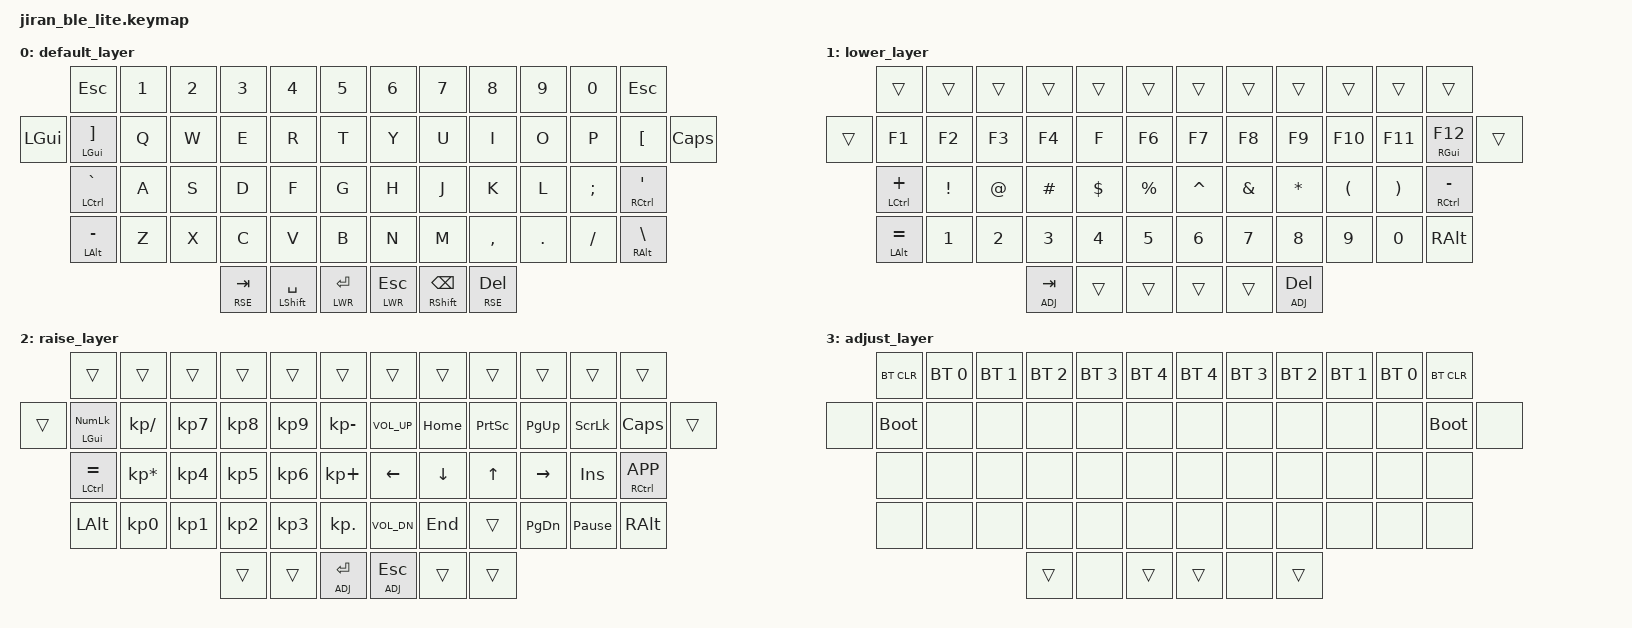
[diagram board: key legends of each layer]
/*
 * Copyright (c) 2021 The ZMK Contributors
 *
 * SPDX-License-Identifier: MIT
 */

#include <behaviors.dtsi>
#include <dt-bindings/zmk/keys.h>
#include <dt-bindings/zmk/bt.h>

&lt { quick_tap_ms = <200>; };
&mt { quick_tap_ms = <200>; };

#define DEF 0
#define LWR 1
#define RSE 2
#define ADJ 3

/ {
        keymap {
                compatible = "zmk,keymap";

                default_layer {
                        bindings = <
          &kp ESC           &kp N1  &kp N2  &kp N3        &kp N4            &kp N5        &kp N6        &kp N7           &kp N8        &kp N9    &kp N0     &kp ESC
&kp LGUI  &mt LGUI RBKT     &kp Q   &kp W   &kp E         &kp R             &kp T         &kp Y         &kp U            &kp I         &kp O     &kp P      &kp LBKT       &kp CLCK
          &mt LCTRL GRAVE   &kp A   &kp S   &kp D         &kp F             &kp G         &kp H         &kp J            &kp K         &kp L     &kp SEMI   &mt RCTRL SQT
          &mt LALT MINUS    &kp Z   &kp X   &kp C         &kp V             &kp B         &kp N         &kp M            &kp COMMA     &kp DOT   &kp FSLH   &mt RALT BSLH
                                            &lt RSE TAB   &mt LSHFT SPACE   &lt LWR RET   &lt LWR ESC   &mt RSHFT BSPC   &lt RSE DEL
                        >;
                };
                lower_layer {
                        bindings = <
        &trans          &trans    &trans  &trans       &trans    &trans           &trans     &trans    &trans       &trans    &trans    &trans
&trans  &kp F1          &kp F2    &kp F3  &kp F4       &kp F     &kp F6           &kp F7     &kp F8    &kp F9       &kp F10   &kp F11   &mt RGUI F12     &trans
        &mt LCTRL PLUS  &kp EXCL  &kp AT  &kp HASH     &kp DLLR  &kp PRCNT        &kp CARET  &kp AMPS  &kp STAR     &kp LPAR  &kp RPAR  &mt RCTRL MINUS
        &mt LALT EQUAL  &kp N1    &kp N2  &kp N3       &kp N4    &kp N5           &kp N6     &kp N7    &kp N8       &kp N9    &kp N0    &kp RALT
                                          &lt ADJ TAB  &trans    &trans           &trans     &trans    &lt ADJ DEL
                       >;
               };
               raise_layer {
                        bindings = <
        &trans           &trans           &trans     &trans     &trans     &trans              &trans        &trans    &trans     &trans     &trans           &trans
&trans  &mt LGUI KP_NUM  &kp KP_SLASH     &kp KP_N7  &kp KP_N8  &kp KP_N9  &kp KP_MINUS        &kp C_VOL_UP  &kp HOME  &kp PSCRN  &kp PG_UP  &kp SLCK         &kp CLCK        &trans
        &mt LCTRL EQUAL  &kp KP_MULTIPLY  &kp KP_N4  &kp KP_N5  &kp KP_N6  &kp KP_PLUS         &kp LEFT      &kp DOWN  &kp UP     &kp RIGHT  &kp INS          &mt RCTRL K_APP
        &kp LALT         &kp KP_N0        &kp KP_N1  &kp KP_N2  &kp KP_N3  &kp KP_DOT          &kp C_VOL_DN  &kp END   &trans     &kp PG_DN  &kp PAUSE_BREAK  &kp RALT
                                                     &trans     &trans     &lt ADJ RET         &lt ADJ ESC   &trans    &trans
                       >;
               };

               adjust_layer {
                        bindings = <
        &bt BT_CLR   &bt BT_SEL 0  &bt BT_SEL 1  &bt BT_SEL 2  &bt BT_SEL 3  &bt BT_SEL 4        &bt BT_SEL 4  &bt BT_SEL 3  &bt BT_SEL 2  &bt BT_SEL 1  &bt BT_SEL 0  &bt BT_CLR
&none   &bootloader  &none         &none         &none         &none         &none               &none         &none         &none         &none         &none         &bootloader  &none
        &none        &none         &none         &none         &none         &none               &none         &none         &none         &none         &none         &none
        &none        &none         &none         &none         &none         &none               &none         &none         &none         &none         &none         &none
                                                 &trans        &none         &trans              &trans        &none         &trans
                       >;
               };
        };
};
